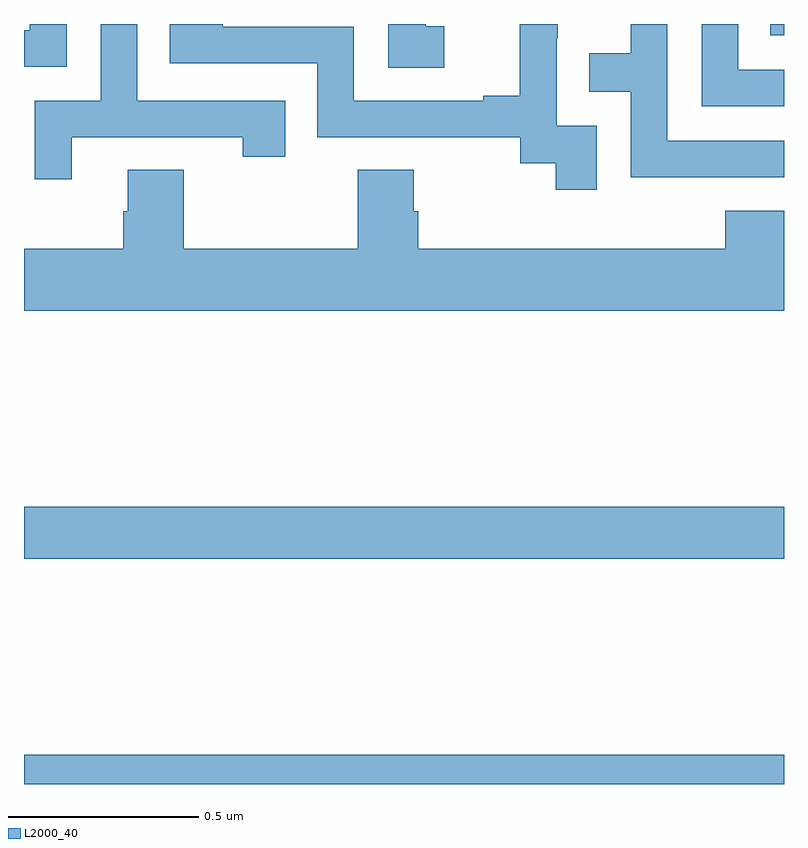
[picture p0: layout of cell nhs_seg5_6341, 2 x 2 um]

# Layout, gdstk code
import gdstk
lib = gdstk.Library(unit=1e-6, precision=1e-09)
def R(c, l, rs):  # rectangles x0, y0, x1, y1
    for r in rs: c.add(gdstk.rectangle(r[:2], r[2:], *l))
def P(c, l, *ps):  # polygons
    for p in ps: c.add(gdstk.Polygon(p, *l))
L2000_40 = (2000, 40)

nhs_seg5_6341 = lib.new_cell('nhs_seg5_6341')
R(nhs_seg5_6341, L2000_40, [(194,904.799,196,904.876), (194,905.392,196,905.528), (195.964,906.77,196,906.799)])
P(nhs_seg5_6341, L2000_40, [(194.125,906.501),(194.576,906.501),(194.576,906.45),(194.687,906.45),(194.687,906.597),(194.298,906.597),(194.298,906.799),(194.202,906.799),(194.202,906.597),(194.028,906.597),(194.028,906.39),(194.125,906.39)],
  [(195.106,906.793),(195.057,906.793),(195.057,906.799),(194.958,906.799),(194.958,906.684),(195.106,906.684)],
  [(195.507,906.531),(195.402,906.531),(195.402,906.761),(195.404,906.761),(195.404,906.799),(195.305,906.799),(195.305,906.61),(195.209,906.61),(195.209,906.597),(194.868,906.597),(194.868,906.792),(194.523,906.792),(194.523,906.799),(194.383,906.799),(194.383,906.696),(194.772,906.696),(194.772,906.501),(195.306,906.501),(195.306,906.433),(195.399,906.433),(195.399,906.363),(195.507,906.363)],
  [(196,906.492),(195.693,906.492),(195.693,906.799),(195.597,906.799),(195.597,906.722),(195.487,906.722),(195.487,906.621),(195.597,906.621),(195.597,906.396),(196,906.396)],
  [(194.112,906.799),(194.015,906.799),(194.015,906.783),(194,906.783),(194,906.687),(194.112,906.687)],
  [(196,906.678),(195.879,906.678),(195.879,906.799),(195.783,906.799),(195.783,906.582),(196,906.582)],
  [(196,906.307),(195.845,906.307),(195.845,906.208),(195.038,906.208),(195.038,906.306),(195.025,906.306),(195.025,906.416),(194.878,906.416),(194.878,906.208),(194.421,906.208),(194.421,906.416),(194.273,906.416),(194.273,906.306),(194.261,906.306),(194.261,906.208),(194,906.208),(194,906.044),(196,906.044)])

lib.write_gds('nhs_seg5_6341.gds')
